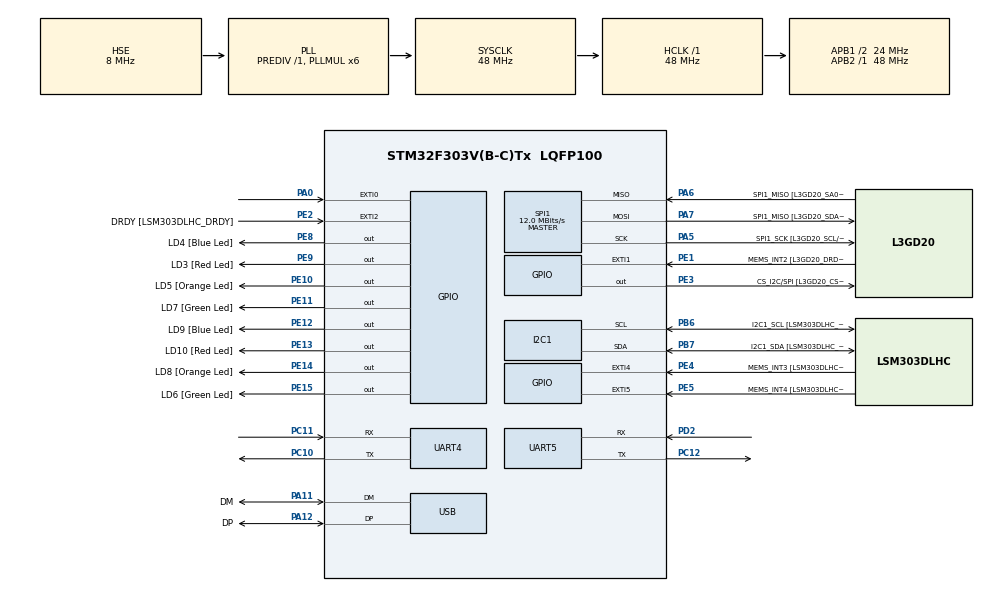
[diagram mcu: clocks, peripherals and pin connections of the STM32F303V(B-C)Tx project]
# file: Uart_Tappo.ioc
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Mcu.Family=STM32F3
PA6.Mode=Full_Duplex_Master
RCC.CortexFreq_Value=48000000
SPI1.VirtualType=VM_MASTER
PE11.GPIO_Label=LD7 [Green Led]
PC10.Signal=UART4_TX
PC12.Signal=UART5_TX
PA14.GPIO_Label=SWCLK
RCC.SYSCLKSourceVirtual=RCC_SYSCLKSOURCE_PLLCLK
PA11.Mode=Device
PA6.GPIO_Label=SPI1_MISO [L3GD20_SA0/SDO]
PB6.GPIO_Label=I2C1_SCL [LSM303DLHC_SCL]
PC15-OSC32_OUT.GPIO_Label=OSC32_OUT
ProjectManager.StackSize=0x400
NVIC.UART5_IRQn=true\:0\:0\:false\:false\:true\:true\:true
SPI1.Mode-Full_Duplex_Master=SPI_MODE_MASTER
PA12.Signal=USB_DP
SPI1.Direction=SPI_DIRECTION_2LINES
RCC.HCLKFreq_Value=48000000
RCC.APB2TimFreq_Value=48000000
PB6.Signal=I2C1_SCL
PB6.Mode=I2C
SPI1.CalculateBaudRate=12.0 MBits/s
PE5.Signal=GPXTI5
PE1.Signal=GPXTI1
RCC.AHBFreq_Value=48000000
RCC.HSE_VALUE=8000000
PF0-OSC_IN.GPIO_Label=OSC_IN
RCC.PLLMUL=RCC_PLL_MUL6
PE13.Signal=GPIO_Output
PE9.Signal=GPIO_Output
PA14.Mode=Serial_Wire
PE4.GPIO_Label=MEMS_INT3 [LSM303DLHC_INT1]
PE2.Signal=GPXTI2
PB7.Signal=I2C1_SDA
PE10.Signal=GPIO_Output
PE4.Signal=GPXTI4
SPI1.CalculateBaudRate-Full_Duplex_Master=24.0 MBits/s
PA0.Signal=GPXTI0
PB7.GPIO_Label=I2C1_SDA [LSM303DLHC_SDA]
Mcu.Package=LQFP100
PA6.Signal=SPI1_MISO
PE12.GPIO_Label=LD9 [Blue Led]
PC11.Mode=Asynchronous
RCC.APB1TimFreq_Value=48000000
PC14-OSC32_IN.GPIO_Label=OSC32_IN
PE10.GPIO_Label=LD5 [Orange Led]
SPI1.BaudRatePrescaler=SPI_BAUDRATEPRESCALER_4
PE2.GPIO_Label=DRDY [LSM303DLHC_DRDY]
PF1-OSC_OUT.Signal=RCC_OSC_OUT
NVIC.UART4_IRQn=true\:0\:0\:false\:false\:true\:true\:true
PA5.Mode=Full_Duplex_Master
PB3.GPIO_Label=SWO
PA7.Mode=Full_Duplex_Master
PC11.Signal=UART4_RX
PC10.Mode=Asynchronous
PE4.GPIO_ModeDefaultEXTI=GPIO_MODE_EVT_RISING
PA11.GPIO_Label=DM
PE14.GPIO_Label=LD8 [Orange Led]
PE1.GPIO_ModeDefaultEXTI=GPIO_MODE_EVT_RISING
RCC.APB1CLKDivider=RCC_HCLK_DIV2
PC14-OSC32_IN.Signal=RCC_OSC32_IN
PA12.GPIO_Label=DP
PA13.Signal=SYS_JTMS-SWDIO
PE15.GPIO_Label=LD6 [Green Led]
ProjectManager.TargetToolchain=STM32CubeIDE
PE5.GPIO_ModeDefaultEXTI=GPIO_MODE_EVT_RISING
PE8.GPIO_Label=LD4 [Blue Led]
I2C1.Timing=0x2000090E
RCC.USBFreq_Value=48000000
PE11.Signal=GPIO_Output
RCC.LSE_VALUE=32768
PC15-OSC32_OUT.Signal=RCC_OSC32_OUT
PE9.GPIO_Label=LD3 [Red Led]
PF0-OSC_IN.Mode=HSE-External-Clock-Source
PD2.Mode=Asynchronous
PA5.Signal=SPI1_SCK
PC12.Mode=Asynchronous
board=STM32F3DISCOVERY
PE1.GPIO_Label=MEMS_INT2 [L3GD20_DRDY/INT2]
RCC.APB2Freq_Value=48000000
PE14.Signal=GPIO_Output
PE15.Signal=GPIO_Output
PE8.Signal=GPIO_Output
SPI1.Mode=SPI_MODE_MASTER
PF1-OSC_OUT.GPIO_Label=OSC_OUT
I2C1.Timing-I2C=0x2000090E
PA13.Mode=Serial_Wire
Mcu.Name=STM32F303V(B-C)Tx
PE12.Signal=GPIO_Output
PA13.GPIO_Label=SWDIO
PB3.Signal=SYS_JTDO-TRACESWO
NVIC.EXTI0_IRQn=true\:0\:0\:false\:false\:true\:true\:true
RCC.SYSCLKFreq_VALUE=48000000
PA7.GPIO_Label=SPI1_MISO [L3GD20_SDA/SDI/SDO]
PE13.GPIO_Label=LD10 [Red Led]
PA12.Mode=Device
PA5.GPIO_Label=SPI1_SCK [L3GD20_SCL/SPC]
PE5.GPIO_Label=MEMS_INT4 [LSM303DLHC_INT2]
PB7.Mode=I2C
PA11.Signal=USB_DM
PA14.Signal=SYS_JTCK-SWCLK
ProjectManager.HeapSize=0x200
RCC.HSI_VALUE=8000000
NVIC.PriorityGroup=NVIC_PRIORITYGROUP_0
PE3.Signal=GPIO_Output
PE3.GPIO_Label=CS_I2C/SPI [L3GD20_CS_I2C/SPI]
PE2.GPIO_ModeDefaultEXTI=GPIO_MODE_EVT_RISING
PF0-OSC_IN.Signal=RCC_OSC_IN
PD2.Signal=UART5_RX
RCC.APB1Freq_Value=24000000
SPI1.BaudRatePrescaler-Full_Duplex_Master=SPI_BAUDRATEPRESCALER_2
PA7.Signal=SPI1_MOSI

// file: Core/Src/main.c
/* USER CODE BEGIN Header */
/**
  ******************************************************************************
  * @file           : main.c
  * @brief          : Main program body
  ******************************************************************************
  * @attention
  *
  * <h2><center>&copy; Copyright (c) 2021 STMicroelectronics.
  * All rights reserved.</center></h2>
  *
  * This software component is licensed by ST under BSD 3-Clause license,
  * the "License"; You may not use this file except in compliance with the
  * License. You may obtain a copy of the License at:
  *                        opensource.org/licenses/BSD-3-Clause
  *
  ******************************************************************************
  */
/* USER CODE END Header */
#include "main.h"
#include "assert.h"

I2C_HandleTypeDef hi2c1;

SPI_HandleTypeDef hspi1;

UART_HandleTypeDef huart4;
UART_HandleTypeDef huart5;

PCD_HandleTypeDef hpcd_USB_FS;

/* USER CODE BEGIN PV */

uint8_t N = 5; //numero di byte per messaggio
uint8_t M = 5; //numero di messaggi
uint8_t counter = 0;
char* bufftrasmit[] = {"pepp ","giuan", "plut0", "pipp0", "NicoM"} ;
char* buffreceive[] = {"00000","00000", "00000", "00000", "00000"};

// char *ack = 'ok';
/* USER CODE END PV */

void SystemClock_Config(void);
static void MX_GPIO_Init(void);
static void MX_I2C1_Init(void);
static void MX_SPI1_Init(void);
static void MX_USB_PCD_Init(void);
static void MX_UART4_Init(void);
static void MX_UART5_Init(void);

/* USER CODE BEGIN 0 */
void HAL_GPIO_EXTI_Callback (uint16_t GPIO_Pin){

	HAL_StatusTypeDef status = HAL_UART_Transmit_IT(&huart4, (uint8_t*) bufftrasmit + N*counter, N);
	assert(status == HAL_OK);
//	HAL_GPIO_TogglePin(GPIOE, GPIO_PIN_15);

}

void HAL_UART_RxCpltCallback(UART_HandleTypeDef *huart){

	char last_byte = buffreceive[counter][N-1];

	if (counter == 0)
		HAL_GPIO_WritePin(GPIOE, GPIO_PIN_All , GPIO_PIN_RESET);

	if (last_byte != '0')
		HAL_GPIO_WritePin(GPIOE, 1<<(8+(counter%8)), GPIO_PIN_SET);

	counter++;

	if (counter == M)
		counter = 0;

	HAL_StatusTypeDef status = HAL_UART_Receive_IT(&huart4, (uint8_t*) buffreceive + N*counter, N);
	assert(status == HAL_OK);

}

/* USER CODE END 0 */

int main(void)
{

  /* MCU Configuration--------------------------------------------------------*/

  /* Reset of all peripherals, Initializes the Flash interface and the Systick. */
  HAL_Init();

  /* Configure the system clock */
  SystemClock_Config();

  /* Initialize all configured peripherals */
  MX_GPIO_Init();
  MX_I2C1_Init();
  MX_SPI1_Init();
  MX_USB_PCD_Init();
  MX_UART4_Init();
  MX_UART5_Init();
  /* USER CODE BEGIN 2 */

	HAL_StatusTypeDef status = HAL_UART_Receive_IT(&huart4, (uint8_t*) buffreceive + N*counter, N);
	assert(status == HAL_OK);

  /* USER CODE END 2 */

  /* Infinite loop */
  while (1)
  {

  }
}

void SystemClock_Config(void)
{
  RCC_OscInitTypeDef RCC_OscInitStruct = {0};
  RCC_ClkInitTypeDef RCC_ClkInitStruct = {0};
  RCC_PeriphCLKInitTypeDef PeriphClkInit = {0};

  /** Initializes the RCC Oscillators according to the specified parameters
  * in the RCC_OscInitTypeDef structure.
  */
  RCC_OscInitStruct.OscillatorType = RCC_OSCILLATORTYPE_HSI|RCC_OSCILLATORTYPE_HSE;
  RCC_OscInitStruct.HSEState = RCC_HSE_BYPASS;
  RCC_OscInitStruct.HSEPredivValue = RCC_HSE_PREDIV_DIV1;
  RCC_OscInitStruct.HSIState = RCC_HSI_ON;
  RCC_OscInitStruct.HSICalibrationValue = RCC_HSICALIBRATION_DEFAULT;
  RCC_OscInitStruct.PLL.PLLState = RCC_PLL_ON;
  RCC_OscInitStruct.PLL.PLLSource = RCC_PLLSOURCE_HSE;
  RCC_OscInitStruct.PLL.PLLMUL = RCC_PLL_MUL6;
  if (HAL_RCC_OscConfig(&RCC_OscInitStruct) != HAL_OK)
  {
    Error_Handler();
  }
  /** Initializes the CPU, AHB and APB buses clocks
  */
  RCC_ClkInitStruct.ClockType = RCC_CLOCKTYPE_HCLK|RCC_CLOCKTYPE_SYSCLK
                              |RCC_CLOCKTYPE_PCLK1|RCC_CLOCKTYPE_PCLK2;
  RCC_ClkInitStruct.SYSCLKSource = RCC_SYSCLKSOURCE_PLLCLK;
  RCC_ClkInitStruct.AHBCLKDivider = RCC_SYSCLK_DIV1;
  RCC_ClkInitStruct.APB1CLKDivider = RCC_HCLK_DIV2;
  RCC_ClkInitStruct.APB2CLKDivider = RCC_HCLK_DIV1;

  if (HAL_RCC_ClockConfig(&RCC_ClkInitStruct, FLASH_LATENCY_1) != HAL_OK)
  {
    Error_Handler();
  }
  PeriphClkInit.PeriphClockSelection = RCC_PERIPHCLK_USB|RCC_PERIPHCLK_UART4
                              |RCC_PERIPHCLK_UART5|RCC_PERIPHCLK_I2C1;
  PeriphClkInit.Uart4ClockSelection = RCC_UART4CLKSOURCE_PCLK1;
  PeriphClkInit.Uart5ClockSelection = RCC_UART5CLKSOURCE_PCLK1;
  PeriphClkInit.I2c1ClockSelection = RCC_I2C1CLKSOURCE_HSI;
  PeriphClkInit.USBClockSelection = RCC_USBCLKSOURCE_PLL;
  if (HAL_RCCEx_PeriphCLKConfig(&PeriphClkInit) != HAL_OK)
  {
    Error_Handler();
  }
}

static void MX_I2C1_Init(void)
{

  hi2c1.Instance = I2C1;
  hi2c1.Init.Timing = 0x2000090E;
  hi2c1.Init.OwnAddress1 = 0;
  hi2c1.Init.AddressingMode = I2C_ADDRESSINGMODE_7BIT;
  hi2c1.Init.DualAddressMode = I2C_DUALADDRESS_DISABLE;
  hi2c1.Init.OwnAddress2 = 0;
  hi2c1.Init.OwnAddress2Masks = I2C_OA2_NOMASK;
  hi2c1.Init.GeneralCallMode = I2C_GENERALCALL_DISABLE;
  hi2c1.Init.NoStretchMode = I2C_NOSTRETCH_DISABLE;
  if (HAL_I2C_Init(&hi2c1) != HAL_OK)
  {
    Error_Handler();
  }
  /** Configure Analogue filter
  */
  if (HAL_I2CEx_ConfigAnalogFilter(&hi2c1, I2C_ANALOGFILTER_ENABLE) != HAL_OK)
  {
    Error_Handler();
  }
  /** Configure Digital filter
  */
  if (HAL_I2CEx_ConfigDigitalFilter(&hi2c1, 0) != HAL_OK)
  {
    Error_Handler();
  }

}

static void MX_SPI1_Init(void)
{

  /* SPI1 parameter configuration*/
  hspi1.Instance = SPI1;
  hspi1.Init.Mode = SPI_MODE_MASTER;
  hspi1.Init.Direction = SPI_DIRECTION_2LINES;
  hspi1.Init.DataSize = SPI_DATASIZE_4BIT;
  hspi1.Init.CLKPolarity = SPI_POLARITY_LOW;
  hspi1.Init.CLKPhase = SPI_PHASE_1EDGE;
  hspi1.Init.NSS = SPI_NSS_SOFT;
  hspi1.Init.BaudRatePrescaler = SPI_BAUDRATEPRESCALER_4;
  hspi1.Init.FirstBit = SPI_FIRSTBIT_MSB;
  hspi1.Init.TIMode = SPI_TIMODE_DISABLE;
  hspi1.Init.CRCCalculation = SPI_CRCCALCULATION_DISABLE;
  hspi1.Init.CRCPolynomial = 7;
  hspi1.Init.CRCLength = SPI_CRC_LENGTH_DATASIZE;
  hspi1.Init.NSSPMode = SPI_NSS_PULSE_ENABLE;
  if (HAL_SPI_Init(&hspi1) != HAL_OK)
  {
    Error_Handler();
  }

}

static void MX_UART4_Init(void)
{

  huart4.Instance = UART4;
  huart4.Init.BaudRate = 115200;
  huart4.Init.WordLength = UART_WORDLENGTH_8B;
  huart4.Init.StopBits = UART_STOPBITS_1;
  huart4.Init.Parity = UART_PARITY_NONE;
  huart4.Init.Mode = UART_MODE_TX_RX;
  huart4.Init.HwFlowCtl = UART_HWCONTROL_NONE;
  huart4.Init.OverSampling = UART_OVERSAMPLING_16;
  huart4.Init.OneBitSampling = UART_ONE_BIT_SAMPLE_DISABLE;
  huart4.AdvancedInit.AdvFeatureInit = UART_ADVFEATURE_NO_INIT;
  if (HAL_UART_Init(&huart4) != HAL_OK)
  {
    Error_Handler();
  }

}

static void MX_UART5_Init(void)
{

  huart5.Instance = UART5;
  huart5.Init.BaudRate = 115200;
  huart5.Init.WordLength = UART_WORDLENGTH_8B;
  huart5.Init.StopBits = UART_STOPBITS_1;
  huart5.Init.Parity = UART_PARITY_NONE;
  huart5.Init.Mode = UART_MODE_TX_RX;
  huart5.Init.HwFlowCtl = UART_HWCONTROL_NONE;
  huart5.Init.OverSampling = UART_OVERSAMPLING_16;
  huart5.Init.OneBitSampling = UART_ONE_BIT_SAMPLE_DISABLE;
  huart5.AdvancedInit.AdvFeatureInit = UART_ADVFEATURE_NO_INIT;
  if (HAL_UART_Init(&huart5) != HAL_OK)
  {
    Error_Handler();
  }

}

static void MX_USB_PCD_Init(void)
{

  hpcd_USB_FS.Instance = USB;
  hpcd_USB_FS.Init.dev_endpoints = 8;
  hpcd_USB_FS.Init.speed = PCD_SPEED_FULL;
  hpcd_USB_FS.Init.phy_itface = PCD_PHY_EMBEDDED;
  hpcd_USB_FS.Init.low_power_enable = DISABLE;
  hpcd_USB_FS.Init.battery_charging_enable = DISABLE;
  if (HAL_PCD_Init(&hpcd_USB_FS) != HAL_OK)
  {
    Error_Handler();
  }

}

static void MX_GPIO_Init(void)
{
  GPIO_InitTypeDef GPIO_InitStruct = {0};

  /* GPIO Ports Clock Enable */
  __HAL_RCC_GPIOE_CLK_ENABLE();
  __HAL_RCC_GPIOC_CLK_ENABLE();
  __HAL_RCC_GPIOF_CLK_ENABLE();
  __HAL_RCC_GPIOA_CLK_ENABLE();
  __HAL_RCC_GPIOD_CLK_ENABLE();
  __HAL_RCC_GPIOB_CLK_ENABLE();

  /*Configure GPIO pin Output Level */
  HAL_GPIO_WritePin(GPIOE, CS_I2C_SPI_Pin|LD4_Pin|LD3_Pin|LD5_Pin
                          |LD7_Pin|LD9_Pin|LD10_Pin|LD8_Pin
                          |LD6_Pin, GPIO_PIN_RESET);

  /*Configure GPIO pins : DRDY_Pin MEMS_INT3_Pin MEMS_INT4_Pin MEMS_INT2_Pin */
  GPIO_InitStruct.Pin = DRDY_Pin|MEMS_INT3_Pin|MEMS_INT4_Pin|MEMS_INT2_Pin;
  GPIO_InitStruct.Mode = GPIO_MODE_EVT_RISING;
  GPIO_InitStruct.Pull = GPIO_NOPULL;
  HAL_GPIO_Init(GPIOE, &GPIO_InitStruct);

  /*Configure GPIO pins : CS_I2C_SPI_Pin LD4_Pin LD3_Pin LD5_Pin
                           LD7_Pin LD9_Pin LD10_Pin LD8_Pin
                           LD6_Pin */
  GPIO_InitStruct.Pin = CS_I2C_SPI_Pin|LD4_Pin|LD3_Pin|LD5_Pin
                          |LD7_Pin|LD9_Pin|LD10_Pin|LD8_Pin
                          |LD6_Pin;
  GPIO_InitStruct.Mode = GPIO_MODE_OUTPUT_PP;
  GPIO_InitStruct.Pull = GPIO_NOPULL;
  GPIO_InitStruct.Speed = GPIO_SPEED_FREQ_LOW;
  HAL_GPIO_Init(GPIOE, &GPIO_InitStruct);

  /*Configure GPIO pin : PA0 */
  GPIO_InitStruct.Pin = GPIO_PIN_0;
  GPIO_InitStruct.Mode = GPIO_MODE_IT_RISING;
  GPIO_InitStruct.Pull = GPIO_NOPULL;
  HAL_GPIO_Init(GPIOA, &GPIO_InitStruct);

  /* EXTI interrupt init*/
  HAL_NVIC_SetPriority(EXTI0_IRQn, 0, 0);
  HAL_NVIC_EnableIRQ(EXTI0_IRQn);

}

void Error_Handler(void)
{
  __disable_irq();
  while (1)
  {
  }
}

/************************ (C) COPYRIGHT STMicroelectronics *****END OF FILE****/
